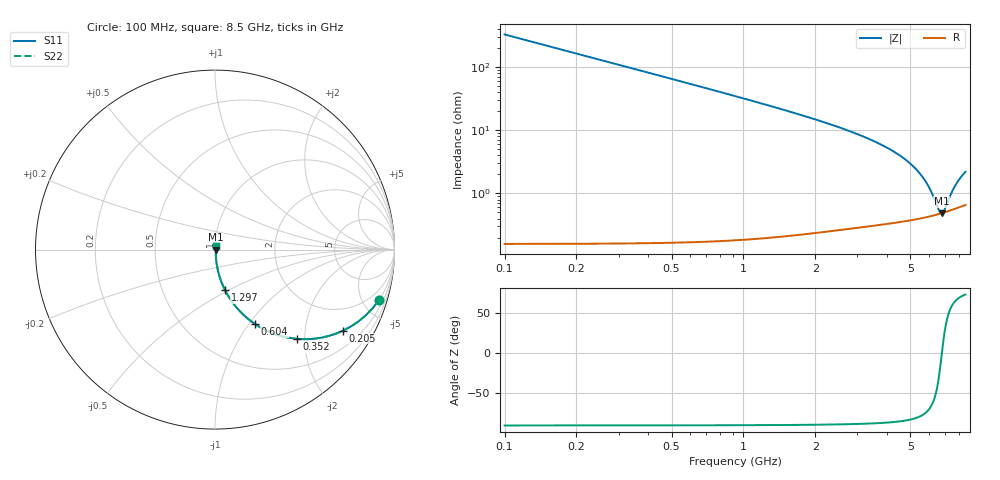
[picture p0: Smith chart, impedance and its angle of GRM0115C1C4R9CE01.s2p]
!Murata Part Number: GRM0115C1C4R9CE01
!These Parameters are Measured in Series Mode Connection
!Data Generated on Mar 30, 2021
!  o--ll--o
!Port1  Port2
!  o------o
!Operation Temp=25[degC], DC Bias Voltage=0[V]
!Freq. Start=100[MHz] Stop=9[GHz] 401[Steps]
# Hz S RI R 50
!Freq.(Hz) S11(Real) S11(Imag) S21(Real) S21(Imag) S12(Real) S12(Imag) S22(Real) S22(Imag)
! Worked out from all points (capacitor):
!   401 points, 100 MHz to 8.5 GHz, reference 50 ohm
!   read as one part in series: C = 4.9 pF near 142 MHz
!   lowest |Z| = 486 mohm at 6.757 GHz (marker M1)
!   series resonance near 6.776 GHz, so ESL is about 110 pH
!   S11 on the Smith chart (normalised r, x): 100 MHz: 1.00, -6.49; 205 MHz: 1.00, -3.17; 352 MHz: 1.00, -1.84; 604 MHz: 1.00, -1.07; 1.297 GHz: 1.00, -0.48; 8.5 GHz: 1.01, +0.04
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1e8  0.9133 -0.2812  0.0867 0.2812  0.0867 0.2812  0.9133 -0.2812
1.42e8  0.8392 -0.367  0.1608 0.367  0.1608 0.367  0.8392 -0.367
2.05e8  0.7145 -0.4511  0.2855 0.4511  0.2855 0.4511  0.7145 -0.4511
2.68e8  0.594 -0.4904  0.406 0.4904  0.406 0.4904  0.594 -0.4904
3.52e8  0.4585 -0.4974  0.5415 0.4974  0.5415 0.4974  0.4585 -0.4974
4.78e8  0.314 -0.4629  0.686 0.4629  0.686 0.4629  0.314 -0.4629
6.04e8  0.2221 -0.4141  0.7779 0.4141  0.7779 0.4141  0.2221 -0.4141
8.77e8  0.118 -0.3202  0.882 0.3202  0.882 0.3202  0.118 -0.3202
1.297e9  0.0564 -0.2266  0.9436 0.2266  0.9436 0.2266  0.0564 -0.2266
1.507e9  0.0419 -0.1953  0.9581 0.1953  0.9581 0.1953  0.0419 -0.1953
2.914e9  0.0108 -0.089  0.9892 0.089  0.9892 0.089  0.0108 -0.089
4.3e9  0.00538 -0.0443  0.9946 0.0443  0.9946 0.0443  0.00538 -0.0443
5.098e9  0.00452 -0.0271  0.9955 0.0271  0.9955 0.0271  0.00452 -0.0271
5.707e9  0.00437 -0.0162  0.9956 0.0162  0.9956 0.0162  0.00437 -0.0162
6.085e9  0.00445 -0.0101  0.9956 0.0101  0.9956 0.0101  0.00445 -0.0101
6.589e9  0.00471 -0.00261  0.9953 0.00261  0.9953 0.00261  0.00471 -0.00261
6.757e9  0.00483 -0.00026  0.9952 0.00026  0.9952 0.00026  0.00483 -0.00026
6.904e9  0.00496 0.00174  0.995 -0.00174  0.995 -0.00174  0.00496 0.00174
7.114e9  0.00515 0.00451  0.9948 -0.00451  0.9948 -0.00451  0.00515 0.00451
7.408e9  0.00547 0.00824  0.9945 -0.00824  0.9945 -0.00824  0.00547 0.00824
7.723e9  0.00585 0.012  0.9942 -0.012  0.9942 -0.012  0.00585 0.012
8.5e9  0.00692 0.0206  0.9931 -0.0206  0.9931 -0.0206  0.00692 0.0206
